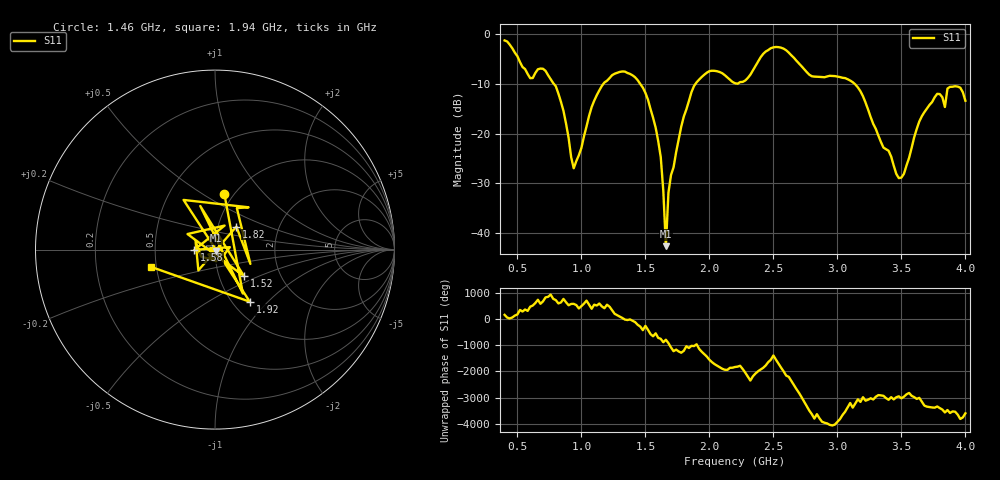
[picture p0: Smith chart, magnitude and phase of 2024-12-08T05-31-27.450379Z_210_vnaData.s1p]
!Created with skrf (http://scikit-rf.org).
# Hz S RI R 50.0
!freq ReS11 ImS11
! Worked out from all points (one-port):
!   181 points, 400 MHz to 4 GHz, reference 50 ohm
!   lowest |S11| = -42.7 dB at 1.66 GHz (marker M1), VSWR 1.01, Z = 50.3 - j0.665 ohm
!   |S11| at or under -10 dB: 784.4 MHz to 1.172 GHz (387.5 MHz wide, 39.6 % of centre); 1.459 GHz to 1.892 GHz (432.8 MHz wide, 25.8 % of centre); 3.135 GHz to end of sweep
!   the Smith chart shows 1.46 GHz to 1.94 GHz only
!   S11 on the Smith chart (normalised r, x): 1.46 GHz: 0.91, +0.62; 1.52 GHz: 1.31, -0.41; 1.58 GHz: 0.79, -0.00; 1.82 GHz: 1.22, +0.32; 1.92 GHz: 1.20, -0.79; 1.94 GHz: 0.47, -0.10
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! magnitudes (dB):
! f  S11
! 400 MHz  -1.3
! 600 MHz  -8.9
! 720 MHz  -7.4
! 860 MHz  -15.4
! 940 MHz  -27.0
! 1.12 GHz  -12.3
! 1.3 GHz  -7.6
! 1.46 GHz  -10.0
! 1.52 GHz  -13.2
! 1.58 GHz  -18.8
! 1.62 GHz  -24.8
! 1.66 GHz  -42.7
! 1.68 GHz  -31.9
! 1.76 GHz  -21.2
! 1.82 GHz  -15.1
! 1.92 GHz  -9.1
! 1.94 GHz  -8.6
! 2.2 GHz  -9.9
! 2.48 GHz  -2.8
! 2.66 GHz  -4.8
! 3.1 GHz  -9.3
! 3.48 GHz  -29.0
! 3.56 GHz  -24.9
! 3.64 GHz  -17.6
! 3.78 GHz  -12.0
! 3.84 GHz  -14.7
! 3.94 GHz  -10.6
! 4 GHz  -13.4
